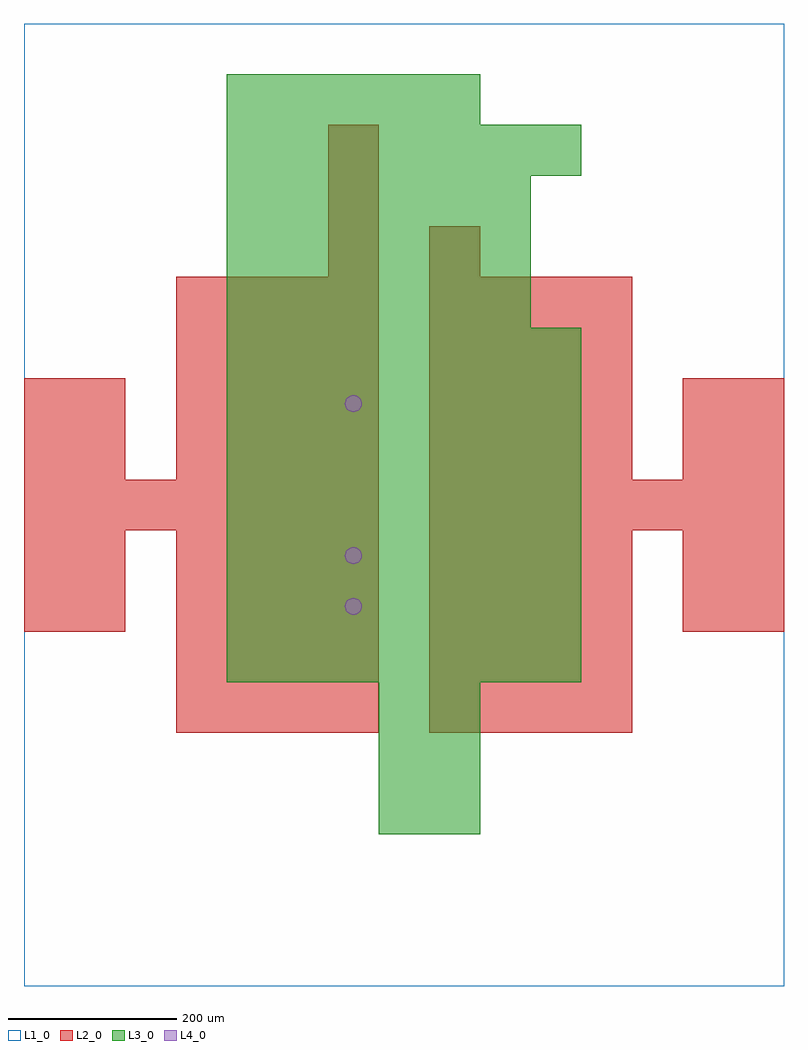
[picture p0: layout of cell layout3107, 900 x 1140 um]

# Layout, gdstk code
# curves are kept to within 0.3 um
import gdstk
lib = gdstk.Library(unit=1e-6, precision=1e-09)
def R(c, l, rs):  # rectangles x0, y0, x1, y1
    for r in rs: c.add(gdstk.rectangle(r[:2], r[2:], *l))
def A(c, l, x, y, w, h, nx, ny, dx, dy):  # array of equal rectangles
    R(c, l, [(x+i*dx, y+j*dy, x+i*dx+w, y+j*dy+h) for i in range(nx) for j in range(ny)])
def P(c, l, *ps):  # polygons
    for p in ps: c.add(gdstk.Polygon(p, *l))
L1_0 = (1, 0)
L2_0 = (2, 0)
L3_0 = (3, 0)
L4_0 = (4, 0)

layout3107 = lib.new_cell('layout3107')
R(layout3107, L1_0, [(0,0,900,1140)])
A(layout3107, L2_0, 180, 300, 60, 60, 4, 4, 60, 60)
A(layout3107, L2_0, 480, 300, 60, 60, 4, 4, 60, 60)
A(layout3107, L2_0, 0, 540, 60, 60, 7, 1, 60, 0)
A(layout3107, L2_0, 480, 540, 60, 60, 7, 1, 60, 0)
A(layout3107, L2_0, 180, 600, 60, 60, 4, 4, 60, 60)
A(layout3107, L2_0, 480, 600, 60, 60, 4, 4, 60, 60)
A(layout3107, L2_0, 360, 840, 60, 60, 1, 3, 0, 60)
R(layout3107, L2_0, [(0,420,60,480), (60,420,120,480), (780,420,840,480), (840,420,900,480), (0,480,60,540), (60,480,120,540), (780,480,840,540), (840,480,900,540), (0,600,60,660), (60,600,120,660), (780,600,840,660), (840,600,900,660), (0,660,60,720), (60,660,120,720), (780,660,840,720), (840,660,900,720), (480,840,540,900)])
A(layout3107, L3_0, 420, 180, 60, 60, 1, 3, 0, 60)
A(layout3107, L3_0, 480, 180, 60, 60, 1, 3, 0, 60)
A(layout3107, L3_0, 240, 360, 60, 60, 7, 7, 60, 60)
A(layout3107, L3_0, 240, 780, 60, 60, 6, 3, 60, 60)
A(layout3107, L3_0, 240, 960, 60, 60, 7, 1, 60, 0)
A(layout3107, L3_0, 240, 1020, 60, 60, 5, 1, 60, 0)
P(layout3107, L4_0, [(400,450),(399.239,453.827),(397.071,457.071),(393.827,459.239),(390,460),(386.173,459.239),(382.929,457.071),(380.761,453.827),(380,450),(380.761,446.173),(382.929,442.929),(386.173,440.761),(390,440),(393.827,440.761),(397.071,442.929),(399.239,446.173)],
  [(400,510),(399.239,513.827),(397.071,517.071),(393.827,519.239),(390,520),(386.173,519.239),(382.929,517.071),(380.761,513.827),(380,510),(380.761,506.173),(382.929,502.929),(386.173,500.761),(390,500),(393.827,500.761),(397.071,502.929),(399.239,506.173)],
  [(400,690),(399.239,693.827),(397.071,697.071),(393.827,699.239),(390,700),(386.173,699.239),(382.929,697.071),(380.761,693.827),(380,690),(380.761,686.173),(382.929,682.929),(386.173,680.761),(390,680),(393.827,680.761),(397.071,682.929),(399.239,686.173)])

lib.write_gds('layout3107.gds')
